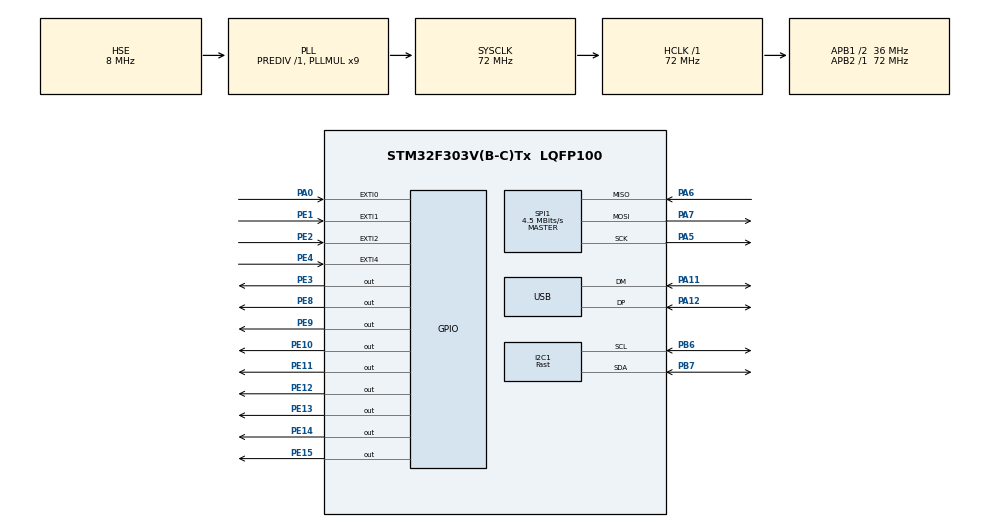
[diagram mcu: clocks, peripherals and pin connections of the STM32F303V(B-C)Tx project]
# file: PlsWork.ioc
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I2C1.I2C_Speed_Mode=I2C_Fast
I2C1.Timing=0x0010020A
Mcu.Family=STM32F3
Mcu.Name=STM32F303V(B-C)Tx
Mcu.Package=LQFP100
NVIC.EXTI1_IRQn=true\:0\:0\:false\:true\:true\:1\:true\:true\:true
NVIC.PriorityGroup=NVIC_PRIORITYGROUP_4
NVIC.USB_LP_CAN_RX0_IRQn=true\:0\:0\:false\:false\:true\:false\:true\:true
PA0.Signal=GPXTI0
PA11.Mode=Device
PA11.Signal=USB_DM
PA12.Mode=Device
PA12.Signal=USB_DP
PA5.Mode=Full_Duplex_Master
PA5.Signal=SPI1_SCK
PA6.Mode=Full_Duplex_Master
PA6.Signal=SPI1_MISO
PA7.Mode=Full_Duplex_Master
PA7.Signal=SPI1_MOSI
PB6.Mode=I2C
PB6.Signal=I2C1_SCL
PB7.Mode=I2C
PB7.Signal=I2C1_SDA
PE1.GPIO_ModeDefaultEXTI=GPIO_MODE_IT_RISING
PE1.GPIO_PuPd=GPIO_PULLDOWN
PE1.Signal=GPXTI1
PE10.Signal=GPIO_Output
PE11.Signal=GPIO_Output
PE12.Signal=GPIO_Output
PE13.Signal=GPIO_Output
PE14.Signal=GPIO_Output
PE15.Signal=GPIO_Output
PE2.Signal=GPXTI2
PE3.PinState=GPIO_PIN_RESET
PE3.Signal=GPIO_Output
PE4.Signal=GPXTI4
PE8.Signal=GPIO_Output
PE9.Signal=GPIO_Output
PF0-OSC_IN.Mode=HSE-External-Oscillator
PF0-OSC_IN.Signal=RCC_OSC_IN
PF1-OSC_OUT.Mode=HSE-External-Oscillator
PF1-OSC_OUT.Signal=RCC_OSC_OUT
ProjectManager.HeapSize=0x2000
ProjectManager.StackSize=0x4000
ProjectManager.TargetToolchain=STM32CubeIDE
RCC.AHBFreq_Value=72000000
RCC.APB1CLKDivider=RCC_HCLK_DIV2
RCC.APB1Freq_Value=36000000
RCC.APB1TimFreq_Value=72000000
RCC.APB2Freq_Value=72000000
RCC.APB2TimFreq_Value=72000000
RCC.CortexFreq_Value=72000000
RCC.HCLKFreq_Value=72000000
RCC.HSE_VALUE=8000000
RCC.HSI_VALUE=8000000
RCC.LSE_VALUE=32768
RCC.PLLMUL=RCC_PLL_MUL9
RCC.PRESCALERUSB=RCC_USBCLKSOURCE_PLL_DIV1_5
RCC.SYSCLKFreq_VALUE=72000000
RCC.SYSCLKSourceVirtual=RCC_SYSCLKSOURCE_PLLCLK
RCC.USBFreq_Value=48000000
SPI1.BaudRatePrescaler=SPI_BAUDRATEPRESCALER_16
SPI1.CalculateBaudRate=4.5 MBits/s
SPI1.DataSize=SPI_DATASIZE_8BIT
SPI1.Direction=SPI_DIRECTION_2LINES
SPI1.Mode=SPI_MODE_MASTER
SPI1.VirtualType=VM_MASTER
USB_DEVICE.CLASS_NAME_FS=CDC
USB_DEVICE.VirtualMode=Cdc
USB_DEVICE.VirtualModeFS=Cdc_FS
VP_USB_DEVICE_VS_USB_DEVICE_CDC_FS.Mode=CDC_FS
board=custom

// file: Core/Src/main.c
/* USER CODE BEGIN Header */
/**
  ******************************************************************************
  * @file           : main.c
  * @brief          : Main program body
  ******************************************************************************
  * @attention
  *
  * Copyright (c) 2025 STMicroelectronics.
  * All rights reserved.
  *
  * This software is licensed under terms that can be found in the LICENSE file
  * in the root directory of this software component.
  * If no LICENSE file comes with this software, it is provided AS-IS.
  *
  ******************************************************************************
  */
/* USER CODE END Header */
#include "main.h"
#include "usb_device.h"

/* USER CODE BEGIN Includes */
/*#include "usbd_cdc_if.h"*/
#include "acselLib.h"
/* USER CODE END Includes */

I2C_HandleTypeDef hi2c1;

SPI_HandleTypeDef hspi1;

/* USER CODE BEGIN PV */
char str1[100]={0};
int16_t AccelData[3];
int16_t GyroData[3];
/* USER CODE END PV */

void SystemClock_Config(void);
static void MX_GPIO_Init(void);
static void MX_I2C1_Init(void);
static void MX_SPI1_Init(void);
static void MX_NVIC_Init(void);

int main(void)
{

  /* MCU Configuration--------------------------------------------------------*/

  /* Reset of all peripherals, Initializes the Flash interface and the Systick. */
  HAL_Init();

  /* Configure the system clock */
  SystemClock_Config();

  /* Initialize all configured peripherals */
  MX_GPIO_Init();
  MX_I2C1_Init();
  MX_SPI1_Init();
  MX_USB_DEVICE_Init();

  /* Initialize interrupts */
  MX_NVIC_Init();
  /* USER CODE BEGIN 2 */
  Gyro_Ini();
  Accel_Ini();
  Accel_GetXYZ(AccelData);
  Gyro_GetXYZ(GyroData);

  /* USER CODE END 2 */

  /* Infinite loop */
  /* USER CODE BEGIN WHILE */
  while (1)
  {
	  /*
	  HAL_GPIO_WritePin(GPIOE,GPIO_PIN_11,GPIO_PIN_SET);
	  HAL_GPIO_WritePin(GPIOE,GPIO_PIN_14,GPIO_PIN_RESET);
	  sprintf(str1,"Hi");
	  CDC_Transmit_FS((uint8_t*)str1, strlen(str1));
	  HAL_Delay(500);
	  */
	  Accel_GetXYZ(AccelData);
	  sprintf(str1,"gX: %06d; gY: %06d; gZ: %06d; \n\r", GyroData[0], GyroData[1], GyroData[2]);
	  HAL_Delay(500);
	  /*HAL_UART_Transmit(&huart1,(uint8_t*)str1, strlen(str1),0x1000);*/
	  CDC_Transmit_FS((uint8_t*)str1, strlen(str1));
	  if(AccelData[0] > 1500)
	  {
		  HAL_GPIO_WritePin(GPIOE, GPIO_PIN_11 , GPIO_PIN_SET);
	      if(AccelData[1] > 1500)
	      {
	    	  HAL_GPIO_WritePin(GPIOE, GPIO_PIN_11 , GPIO_PIN_RESET);
	    	  HAL_GPIO_WritePin(GPIOE, GPIO_PIN_12 , GPIO_PIN_SET);
	      }
	      else if(AccelData[1] < -1500)
	      {
	    	  HAL_GPIO_WritePin(GPIOE, GPIO_PIN_11 , GPIO_PIN_RESET);
	    	  HAL_GPIO_WritePin(GPIOE, GPIO_PIN_10 , GPIO_PIN_SET);
	      }
	  }
	  else if(AccelData[0] < -1500)
	  {
		  HAL_GPIO_WritePin(GPIOE, GPIO_PIN_15, GPIO_PIN_SET);
	          if(AccelData[1] > 1500)
	          {
	        	  HAL_GPIO_WritePin(GPIOE, GPIO_PIN_15, GPIO_PIN_RESET);
	        	  HAL_GPIO_WritePin(GPIOE, GPIO_PIN_14 , GPIO_PIN_SET);
	          }
	  else if(AccelData[1] < -1500)

	   {
		  HAL_GPIO_WritePin(GPIOE, GPIO_PIN_15 , GPIO_PIN_RESET);
		  HAL_GPIO_WritePin(GPIOE, GPIO_PIN_8 , GPIO_PIN_SET);
	   }
	   }
	  else
	  {
	          if(AccelData[1] > 1500)
	          {
	        	  HAL_GPIO_WritePin(GPIOE, GPIO_PIN_13 , GPIO_PIN_SET);
	          }

	          else if(AccelData[1] < -1500)
	          {
	        	  HAL_GPIO_WritePin(GPIOE, GPIO_PIN_9 , GPIO_PIN_SET);
	          }
	  }
	  HAL_Delay(50);
	  HAL_GPIO_WritePin(GPIOE, GPIO_PIN_9, GPIO_PIN_RESET);
	  HAL_GPIO_WritePin(GPIOE, GPIO_PIN_15 , GPIO_PIN_RESET);
	  HAL_GPIO_WritePin(GPIOE, GPIO_PIN_11 , GPIO_PIN_RESET);
	  HAL_GPIO_WritePin(GPIOE, GPIO_PIN_8 , GPIO_PIN_RESET);
	  HAL_GPIO_WritePin(GPIOE, GPIO_PIN_13 , GPIO_PIN_RESET);
	  HAL_GPIO_WritePin(GPIOE, GPIO_PIN_14 , GPIO_PIN_RESET);
	  HAL_GPIO_WritePin(GPIOE, GPIO_PIN_12 , GPIO_PIN_RESET);
	  HAL_GPIO_WritePin(GPIOE, GPIO_PIN_10 , GPIO_PIN_RESET);
    /* USER CODE END WHILE */

  }
}

void SystemClock_Config(void)
{
  RCC_OscInitTypeDef RCC_OscInitStruct = {0};
  RCC_ClkInitTypeDef RCC_ClkInitStruct = {0};
  RCC_PeriphCLKInitTypeDef PeriphClkInit = {0};

  /** Initializes the RCC Oscillators according to the specified parameters
  * in the RCC_OscInitTypeDef structure.
  */
  RCC_OscInitStruct.OscillatorType = RCC_OSCILLATORTYPE_HSI|RCC_OSCILLATORTYPE_HSE;
  RCC_OscInitStruct.HSEState = RCC_HSE_ON;
  RCC_OscInitStruct.HSEPredivValue = RCC_HSE_PREDIV_DIV1;
  RCC_OscInitStruct.HSIState = RCC_HSI_ON;
  RCC_OscInitStruct.HSICalibrationValue = RCC_HSICALIBRATION_DEFAULT;
  RCC_OscInitStruct.PLL.PLLState = RCC_PLL_ON;
  RCC_OscInitStruct.PLL.PLLSource = RCC_PLLSOURCE_HSE;
  RCC_OscInitStruct.PLL.PLLMUL = RCC_PLL_MUL9;
  if (HAL_RCC_OscConfig(&RCC_OscInitStruct) != HAL_OK)
  {
    Error_Handler();
  }

  /** Initializes the CPU, AHB and APB buses clocks
  */
  RCC_ClkInitStruct.ClockType = RCC_CLOCKTYPE_HCLK|RCC_CLOCKTYPE_SYSCLK
                              |RCC_CLOCKTYPE_PCLK1|RCC_CLOCKTYPE_PCLK2;
  RCC_ClkInitStruct.SYSCLKSource = RCC_SYSCLKSOURCE_PLLCLK;
  RCC_ClkInitStruct.AHBCLKDivider = RCC_SYSCLK_DIV1;
  RCC_ClkInitStruct.APB1CLKDivider = RCC_HCLK_DIV2;
  RCC_ClkInitStruct.APB2CLKDivider = RCC_HCLK_DIV1;

  if (HAL_RCC_ClockConfig(&RCC_ClkInitStruct, FLASH_LATENCY_2) != HAL_OK)
  {
    Error_Handler();
  }
  PeriphClkInit.PeriphClockSelection = RCC_PERIPHCLK_USB|RCC_PERIPHCLK_I2C1;
  PeriphClkInit.I2c1ClockSelection = RCC_I2C1CLKSOURCE_HSI;
  PeriphClkInit.USBClockSelection = RCC_USBCLKSOURCE_PLL_DIV1_5;
  if (HAL_RCCEx_PeriphCLKConfig(&PeriphClkInit) != HAL_OK)
  {
    Error_Handler();
  }
}

/**
  * @brief NVIC Configuration.
  * @retval None
  */
static void MX_NVIC_Init(void)
{
  /* EXTI1_IRQn interrupt configuration */
  HAL_NVIC_SetPriority(EXTI1_IRQn, 0, 0);
  HAL_NVIC_EnableIRQ(EXTI1_IRQn);
}

static void MX_I2C1_Init(void)
{

  hi2c1.Instance = I2C1;
  hi2c1.Init.Timing = 0x0010020A;
  hi2c1.Init.OwnAddress1 = 0;
  hi2c1.Init.AddressingMode = I2C_ADDRESSINGMODE_7BIT;
  hi2c1.Init.DualAddressMode = I2C_DUALADDRESS_DISABLE;
  hi2c1.Init.OwnAddress2 = 0;
  hi2c1.Init.OwnAddress2Masks = I2C_OA2_NOMASK;
  hi2c1.Init.GeneralCallMode = I2C_GENERALCALL_DISABLE;
  hi2c1.Init.NoStretchMode = I2C_NOSTRETCH_DISABLE;
  if (HAL_I2C_Init(&hi2c1) != HAL_OK)
  {
    Error_Handler();
  }

  /** Configure Analogue filter
  */
  if (HAL_I2CEx_ConfigAnalogFilter(&hi2c1, I2C_ANALOGFILTER_ENABLE) != HAL_OK)
  {
    Error_Handler();
  }

  /** Configure Digital filter
  */
  if (HAL_I2CEx_ConfigDigitalFilter(&hi2c1, 0) != HAL_OK)
  {
    Error_Handler();
  }

}

static void MX_SPI1_Init(void)
{

  /* SPI1 parameter configuration*/
  hspi1.Instance = SPI1;
  hspi1.Init.Mode = SPI_MODE_MASTER;
  hspi1.Init.Direction = SPI_DIRECTION_2LINES;
  hspi1.Init.DataSize = SPI_DATASIZE_8BIT;
  hspi1.Init.CLKPolarity = SPI_POLARITY_LOW;
  hspi1.Init.CLKPhase = SPI_PHASE_1EDGE;
  hspi1.Init.NSS = SPI_NSS_SOFT;
  hspi1.Init.BaudRatePrescaler = SPI_BAUDRATEPRESCALER_16;
  hspi1.Init.FirstBit = SPI_FIRSTBIT_MSB;
  hspi1.Init.TIMode = SPI_TIMODE_DISABLE;
  hspi1.Init.CRCCalculation = SPI_CRCCALCULATION_DISABLE;
  hspi1.Init.CRCPolynomial = 7;
  hspi1.Init.CRCLength = SPI_CRC_LENGTH_DATASIZE;
  hspi1.Init.NSSPMode = SPI_NSS_PULSE_ENABLE;
  if (HAL_SPI_Init(&hspi1) != HAL_OK)
  {
    Error_Handler();
  }

}

static void MX_GPIO_Init(void)
{
  GPIO_InitTypeDef GPIO_InitStruct = {0};

  /* GPIO Ports Clock Enable */
  __HAL_RCC_GPIOE_CLK_ENABLE();
  __HAL_RCC_GPIOF_CLK_ENABLE();
  __HAL_RCC_GPIOA_CLK_ENABLE();
  __HAL_RCC_GPIOB_CLK_ENABLE();

  /*Configure GPIO pin Output Level */
  HAL_GPIO_WritePin(GPIOE, GPIO_PIN_3|GPIO_PIN_8|GPIO_PIN_9|GPIO_PIN_10
                          |GPIO_PIN_11|GPIO_PIN_12|GPIO_PIN_13|GPIO_PIN_14
                          |GPIO_PIN_15, GPIO_PIN_RESET);

  /*Configure GPIO pins : PE2 PE4 */
  GPIO_InitStruct.Pin = GPIO_PIN_2|GPIO_PIN_4;
  GPIO_InitStruct.Mode = GPIO_MODE_IT_RISING;
  GPIO_InitStruct.Pull = GPIO_NOPULL;
  HAL_GPIO_Init(GPIOE, &GPIO_InitStruct);

  /*Configure GPIO pins : PE3 PE8 PE9 PE10
                           PE11 PE12 PE13 PE14
                           PE15 */
  GPIO_InitStruct.Pin = GPIO_PIN_3|GPIO_PIN_8|GPIO_PIN_9|GPIO_PIN_10
                          |GPIO_PIN_11|GPIO_PIN_12|GPIO_PIN_13|GPIO_PIN_14
                          |GPIO_PIN_15;
  GPIO_InitStruct.Mode = GPIO_MODE_OUTPUT_PP;
  GPIO_InitStruct.Pull = GPIO_NOPULL;
  GPIO_InitStruct.Speed = GPIO_SPEED_FREQ_LOW;
  HAL_GPIO_Init(GPIOE, &GPIO_InitStruct);

  /*Configure GPIO pin : PA0 */
  GPIO_InitStruct.Pin = GPIO_PIN_0;
  GPIO_InitStruct.Mode = GPIO_MODE_IT_RISING;
  GPIO_InitStruct.Pull = GPIO_NOPULL;
  HAL_GPIO_Init(GPIOA, &GPIO_InitStruct);

  /*Configure GPIO pin : PE1 */
  GPIO_InitStruct.Pin = GPIO_PIN_1;
  GPIO_InitStruct.Mode = GPIO_MODE_IT_RISING;
  GPIO_InitStruct.Pull = GPIO_PULLDOWN;
  HAL_GPIO_Init(GPIOE, &GPIO_InitStruct);

}

/* USER CODE BEGIN 4 */
void HAL_GPIO_EXTI_Callback(uint16_t GPIO_Pin)
{
	if(GPIO_Pin == GPIO_PIN_1)
	{
		Gyro_GetXYZ(GyroData);
	}
}
/* USER CODE END 4 */

void Error_Handler(void)
{
  __disable_irq();
  while (1)
  {
  }
}
